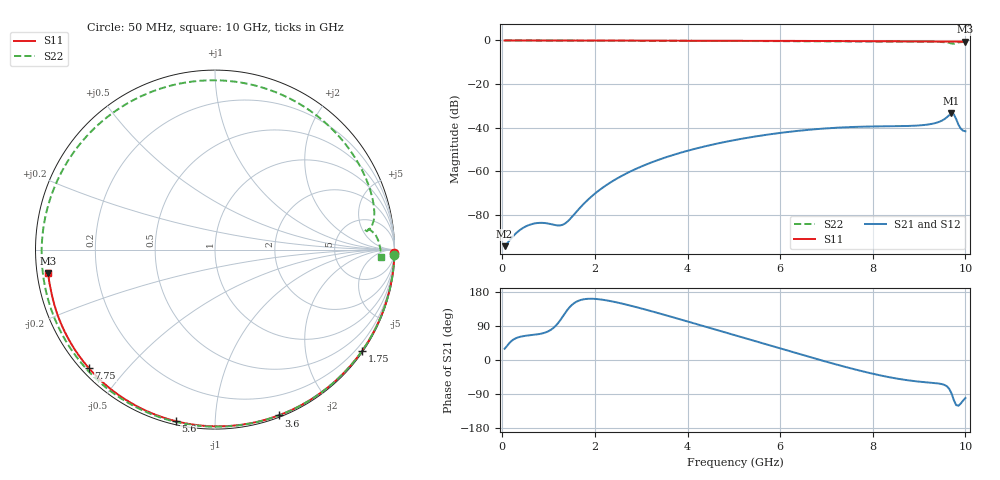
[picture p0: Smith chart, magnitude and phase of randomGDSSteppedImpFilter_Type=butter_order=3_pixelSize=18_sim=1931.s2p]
! freq	dB(S11)	phase(S11)	dB(S12)	phase(S12)
!  dB(S21)	phase(S21)	dB(S22)	phase(S22)
!S-par simulation data
#  GHz  S  DB  R 50
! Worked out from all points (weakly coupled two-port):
!   200 points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, 50 MHz to 10 GHz, reference 50 ohm
!   highest |S21| = -33.50 dB at 9.7 GHz (marker M1); lowest = -94.4 dB at 50 MHz (marker M2)
!   lowest |S11| = -0.6 dB at 10 GHz (marker M3), VSWR 31.40, Z = 1.6 - j3.55 ohm
!   |S11| at or under -10 dB: nowhere
!   |S22| runs from -1.5 to 0.0 dB; largest |S21 - S12| = 0
!   S11 on the Smith chart (normalised r, x): 50 MHz: open; 1.75 GHz: 0.03, -3.21; 3.6 GHz: 0.02, -1.45; 5.6 GHz: 0.02, -0.80; 7.75 GHz: 0.02, -0.40; 10 GHz: 0.03, -0.07
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0.05  -0.00 -1.0  -94.42 29.7  -94.42 29.7  -0.00 -1.6
0.75  -0.02 -15.0  -83.82 67.5  -83.82 67.5  -0.03 -24.1
1.55  -0.04 -30.8  -79.89 149.9  -79.89 149.9  -0.06 -49.2
1.75  -0.04 -34.6  -75.19 160.0  -75.19 160.0  -0.07 -55.4
2.45  -0.06 -48.0  -63.70 152.6  -63.70 152.6  -0.10 -76.8
3.4  -0.09 -65.4  -54.59 122.7  -54.59 122.7  -0.14 -105.5
3.6  -0.09 -69.0  -53.16 115.7  -53.16 115.7  -0.15 -111.5
4.3  -0.12 -81.3  -48.99 91.1  -48.99 91.1  -0.19 -132.8
5.05  -0.14 -93.9  -45.58 64.3  -45.58 64.3  -0.24 -156.4
5.6  -0.17 -103.0  -43.62 44.7  -43.62 44.7  -0.29 -174.7
6.15  -0.20 -111.8  -42.05 25.0  -42.05 25.0  -0.34 165.8
6.7  -0.23 -120.5  -40.85 5.7  -40.85 5.7  -0.39 144.7
7.25  -0.27 -129.0  -40.02 -13.1  -40.02 -13.1  -0.45 121.9
7.75  -0.31 -136.7  -39.59 -29.0  -39.59 -29.0  -0.49 99.6
8.35  -0.37 -146.0  -39.39 -45.3  -39.39 -45.3  -0.53 71.4
8.75  -0.41 -152.2  -39.26 -53.4  -39.26 -53.4  -0.56 52.1
9.15  -0.46 -158.4  -38.71 -58.9  -38.71 -58.9  -0.60 32.7
9.45  -0.50 -163.1  -37.21 -62.6  -37.21 -62.6  -0.70 18.1
9.7  -0.53 -167.0  -33.50 -88.0  -33.50 -88.0  -1.39 6.9
9.75  -0.53 -167.8  -33.88 -105.6  -33.88 -105.6  -1.50 7.5
9.9  -0.54 -170.2  -40.48 -114.9  -40.48 -114.9  -0.78 2.7
10  -0.55 -171.9  -41.69 -100.3  -41.69 -100.3  -0.67 -2.4
